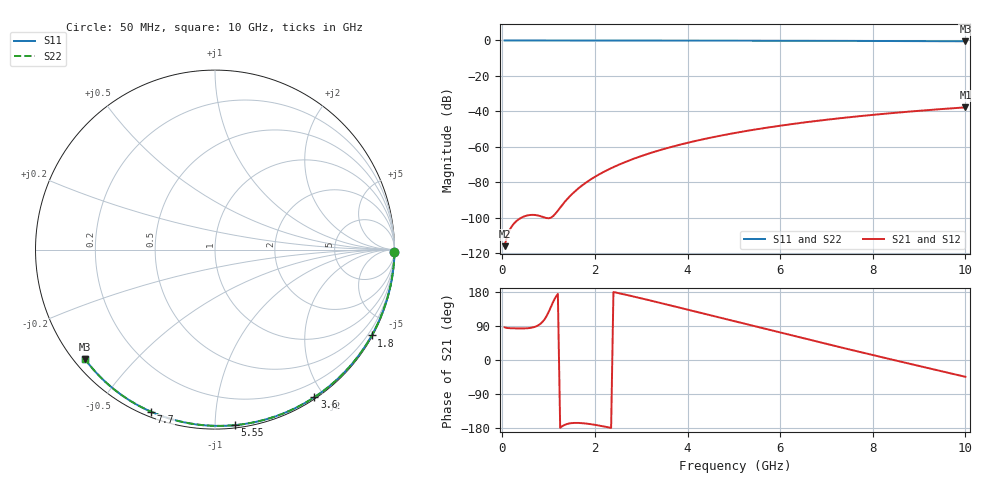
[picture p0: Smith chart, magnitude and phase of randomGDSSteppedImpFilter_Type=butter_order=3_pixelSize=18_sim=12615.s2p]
! freq	dB(S11)	phase(S11)	dB(S12)	phase(S12)
!  dB(S21)	phase(S21)	dB(S22)	phase(S22)
!S-par simulation data
#  GHz  S  DB  R 50
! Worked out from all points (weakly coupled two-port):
!   200 points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, 50 MHz to 10 GHz, reference 50 ohm
!   highest |S21| = -37.75 dB at 10 GHz (marker M1); lowest = -116.1 dB at 50 MHz (marker M2)
!   lowest |S11| = -0.5 dB at 10 GHz (marker M3), VSWR 36.81, Z = 1.54 - j18.3 ohm
!   |S11| at or under -10 dB: nowhere
!   |S22| runs from -0.5 to 0.0 dB; largest |S21 - S12| = 0
!   S11 on the Smith chart (normalised r, x): 50 MHz: open; 1.8 GHz: 0.03, -3.91; 3.6 GHz: 0.02, -1.88; 5.55 GHz: 0.02, -1.12; 7.7 GHz: 0.02, -0.68; 10 GHz: 0.03, -0.37
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0.05  -0.00 -0.8  -116.07 86.2  -116.07 86.2  -0.00 -0.8
0.45  -0.01 -7.3  -99.51 83.3  -99.51 83.3  -0.01 -7.3
0.9  -0.02 -14.5  -99.81 105.2  -99.81 105.2  -0.02 -14.5
1.75  -0.04 -27.9  -81.28 -167.0  -81.28 -167.0  -0.04 -27.9
1.8  -0.04 -28.7  -80.33 -167.6  -80.33 -167.6  -0.04 -28.7
1.85  -0.04 -29.5  -79.43 -168.3  -79.43 -168.3  -0.04 -29.5
2  -0.04 -31.8  -76.94 -171.1  -76.94 -171.1  -0.04 -31.8
2.15  -0.04 -34.2  -74.72 -174.4  -74.72 -174.4  -0.04 -34.2
2.35  -0.05 -37.2  -72.07 -179.3  -72.07 -179.3  -0.05 -37.2
2.55  -0.05 -40.3  -69.73 175.4  -69.73 175.4  -0.05 -40.3
2.95  -0.06 -46.4  -65.69 164.2  -65.69 164.2  -0.06 -46.4
3.4  -0.07 -53.1  -61.91 151.0  -61.91 151.0  -0.07 -53.1
3.6  -0.08 -56.1  -60.43 145.0  -60.43 145.0  -0.08 -56.1
4.3  -0.09 -66.2  -55.95 123.8  -55.95 123.8  -0.09 -66.2
5.05  -0.12 -76.8  -52.07 101.0  -52.07 101.0  -0.12 -76.7
5.55  -0.14 -83.6  -49.87 85.9  -49.87 85.9  -0.14 -83.6
6.1  -0.16 -91.0  -47.73 69.3  -47.73 69.3  -0.16 -90.9
6.7  -0.19 -98.8  -45.67 51.4  -45.67 51.4  -0.19 -98.8
7.7  -0.26 -111.6  -42.75 21.9  -42.75 21.9  -0.25 -111.5
8.35  -0.31 -119.6  -41.13 2.9  -41.13 2.9  -0.31 -119.6
9.2  -0.38 -130.1  -39.27 -21.5  -39.27 -21.5  -0.38 -130.0
10  -0.47 -139.8  -37.75 -44.4  -37.75 -44.4  -0.47 -139.8
